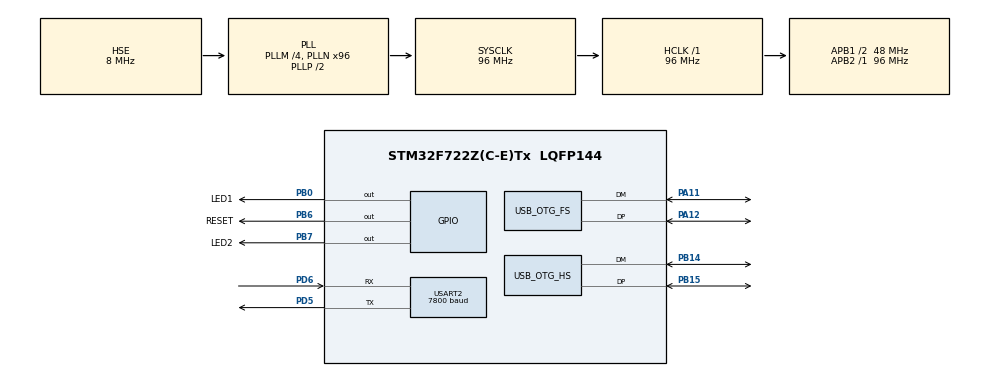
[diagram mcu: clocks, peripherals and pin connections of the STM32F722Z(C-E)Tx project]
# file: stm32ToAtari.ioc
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Mcu.Family=STM32F7
Mcu.Name=STM32F722Z(C-E)Tx
Mcu.Package=LQFP144
NVIC.OTG_FS_IRQn=true\:3\:0\:true\:false\:true\:false\:true
NVIC.OTG_HS_IRQn=true\:2\:0\:true\:false\:true\:false\:true
NVIC.PriorityGroup=NVIC_PRIORITYGROUP_4
NVIC.USART2_IRQn=true\:1\:0\:true\:false\:true\:true\:true
PA11.Mode=Host_Only
PA11.Signal=USB_OTG_FS_DM
PA12.Mode=Host_Only
PA12.Signal=USB_OTG_FS_DP
PA13.Mode=Serial_Wire
PA13.Signal=SYS_JTMS-SWDIO
PA14.Mode=Serial_Wire
PA14.Signal=SYS_JTCK-SWCLK
PB0.GPIO_Label=LED1
PB0.Signal=GPIO_Output
PB14.Mode=Internal_Phy_Host
PB14.Signal=USB_OTG_HS_DM
PB15.Mode=Internal_Phy_Host
PB15.Signal=USB_OTG_HS_DP
PB6.GPIO_Label=RESET
PB6.Signal=GPIO_Output
PB7.GPIO_Label=LED2
PB7.Signal=GPIO_Output
PD5.Mode=Asynchronous
PD5.Signal=USART2_TX
PD6.Mode=Asynchronous
PD6.Signal=USART2_RX
PH0-OSC_IN.Mode=HSE-External-Oscillator
PH0-OSC_IN.Signal=RCC_OSC_IN
PH1-OSC_OUT.Mode=HSE-External-Oscillator
PH1-OSC_OUT.Signal=RCC_OSC_OUT
ProjectManager.HeapSize=0x200
ProjectManager.StackSize=0x400
ProjectManager.TargetToolchain=STM32CubeIDE
RCC.AHBFreq_Value=96000000
RCC.APB1CLKDivider=RCC_HCLK_DIV2
RCC.APB1Freq_Value=48000000
RCC.APB1TimFreq_Value=96000000
RCC.APB2Freq_Value=96000000
RCC.APB2TimFreq_Value=96000000
RCC.CortexFreq_Value=96000000
RCC.HCLKFreq_Value=96000000
RCC.HSE_VALUE=8000000
RCC.HSI_VALUE=16000000
RCC.LSE_VALUE=32768
RCC.PLLM=4
RCC.PLLN=96
RCC.PLLQ=4
RCC.PWREXT_OverDrive=PWREXT_OverDrive_ACTIVATED
RCC.PWR_Regulator_Voltage_Scale=PWR_REGULATOR_VOLTAGE_SCALE1
RCC.SYSCLKFreq_VALUE=96000000
RCC.SYSCLKSource=RCC_SYSCLKSOURCE_PLLCLK
RCC.USBFreq_Value=48000000
RCC.VCOOutputFreq_Value=192000000
USART2.BaudRate=7800
USART2.VirtualMode-Asynchronous=VM_ASYNC
USB_HOST.USBH_HandleTypeDef-HID_FS=hUsbHostFS
USB_HOST.USBH_HandleTypeDef-HID_HS=hUsbHostHS
USB_HOST.VirtualModeFS=Hid
USB_HOST.VirtualModeHS=Hid
USB_OTG_FS.VirtualMode=Host_Only
USB_OTG_FS.phy_itface=HCD_PHY_EMBEDDED
USB_OTG_HS.VirtualMode-Internal_Phy_Host=Int_Phy_Host
VP_USB_HOST_VS_USB_HOST_HID_FS.Mode=HID_FS
VP_USB_HOST_VS_USB_HOST_HID_HS.Mode=HID_HS
board=custom

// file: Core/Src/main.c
/* USER CODE BEGIN Header */
/**
  ******************************************************************************
  * @file           : main.c
  * @brief          : Main program body
  ******************************************************************************
  * @attention
  *
  * <h2><center>&copy; Copyright (c) 2020 STMicroelectronics.
  * All rights reserved.</center></h2>
  *
  * This software component is licensed by ST under BSD 3-Clause license,
  * the "License"; You may not use this file except in compliance with the
  * License. You may obtain a copy of the License at:
  *                        opensource.org/licenses/BSD-3-Clause
  *
  ******************************************************************************
  */
/* USER CODE END Header */

#include "main.h"
#include "usb_host.h"
#include "atarist.h"

/* USER CODE BEGIN PD */
 HID_USBDevicesTypeDef* usb;
 HID_KEYBD_Info_TypeDef *k_pinfo;
 HAL_StatusTypeDef status;
 uint8_t RxBuffer[1] = {0};

 //keyboard state
 uint8_t kb_reset = 0;
 uint8_t  joy_inter_mode = 0;
 uint8_t  joy_even_rpt = 1;
 uint8_t sendJoyData_flag = 0;

 //joystick data for interrogation mode
 uint8_t  joydata1 = 0;
 uint8_t  joydata2 = 0;

/* USER CODE END PD */

UART_HandleTypeDef huart2;

void SystemClock_Config(void);
static void MX_GPIO_Init(void);
static void MX_USART2_UART_Init(void);
void MX_USB_HOST_Process(void);

/* USER CODE BEGIN 0 */
uint8_t MapJoystick(uint8_t joystick_data)
{

	  uint8_t joymapped = 0x00;

	   	//Map any button to
		   	//BTN0 = (joydata1>>7&0x1);
		   	//BTN1 =  (joydata1>>6&0x1);
		    //BTN2 =  (joydata1>>5&0x1);
		   	//BTN3 =  (joydata1>>4&0x1);

		   	//fire
		   	if((joystick_data>>7&0x1)||(joystick_data>>6&0x1)||(joystick_data>>5&0x1)||(joystick_data>>4&0x1))
		   			{
		   				joymapped = joymapped|0x80;
		   			}
			//mask 0x01 up
		   	//mask 0x02 down
			//mask 0x04
			//mask 0x08

		   	//UP = (*joymap>>3&0x1);
		   	if(joystick_data>>3&0x1)
		   	{
		   		joymapped = joymapped|0x01;
		   	}

		   	//DOWN = (*joymap>>2&0x1);
		 	if(joystick_data>>2&0x1)
			{
		 		joymapped = joymapped|0x02;
			}

			//LEFT = (*joydata1>>1&0x1);
			 	if(joystick_data>>1&0x1)
			 			{
			 				joymapped = joymapped|0x04;
			 			}

		 	////RIGHT = (*joydata1&0x1);

		 	if(joystick_data&0x1)
		 			{
		 				joymapped = joymapped|0x08;
		 			}
		 	return joymapped;
}

/* USER CODE END 0 */

int main(void)
{

  /* MCU Configuration--------------------------------------------------------*/

  /* Reset of all peripherals, Initializes the Flash interface and the Systick. */
  HAL_Init();

  /* Configure the system clock */
  SystemClock_Config();

  /* Initialize all configured peripherals */
  MX_GPIO_Init();
  MX_USART2_UART_Init();
  MX_USB_HOST_Init();
  initKeyboard(&huart2);

  /* USER CODE BEGIN 2 */

  HAL_UART_Receive_IT(&huart2, RxBuffer, 1);
  HAL_GPIO_WritePin(LED1_GPIO_Port, LED1_Pin, GPIO_PIN_RESET);
  HAL_GPIO_WritePin(LED2_GPIO_Port, LED2_Pin, GPIO_PIN_RESET);

  /* USER CODE END 2 */

  /* Infinite loop */
  while (1)
  {
    MX_USB_HOST_Process();
    HAL_UART_Receive_IT(&huart2, RxBuffer, 1);
    usb = USBH_HID_GetUSBDev();

//Relative position reporting
 /*
  %111110xy         ; mouse position record flag
                    ; where y is the right button state
                    ; and x is the left button state
X                   ; delta x as twos complement integer
Y                   ; delta y as twos complement integer
  */

 if (usb->mouse!=NULL && joy_inter_mode == 0)
 {
	 uint8_t mouse[3] = {0};
	 mouse[0] = 0xF8;
	 mouse[0]= mouse[0]|(usb->mouse->buttons[0]<<1);
	 mouse[0]= mouse[0]|(usb->mouse->buttons[1]);
	 mouse[1] = usb->mouse->x;
	 mouse[2] = usb->mouse->y;

	 HAL_UART_Transmit(&huart2, mouse, 3, 100);
 }

 if(usb->keyboard!=NULL)
 {
	 processKbd(usb->keyboard);
 }

 //handle even joy
 if(usb!=NULL&&usb->gamepad1!=NULL)
 {
	 //set data for interrogation mode
	 joydata1 = *usb->gamepad1;

	 //send data for event mode
	if (joy_even_rpt==1)
	 {
	 uint8_t joy1_package[3] = {0};
	 joy1_package[0] = 0xFE;
	 joy1_package[1] = MapJoystick(joydata1);
	 	 HAL_UART_Transmit(&huart2, joy1_package, 2, 100);
	 	 HAL_GPIO_TogglePin(LED2_GPIO_Port, LED2_Pin);
	 }
 }

 //Handle interr gamepad

 if (sendJoyData_flag == 1)
 {
 	//clear the flag
 	sendJoyData_flag = 0;

 	//construct message to send

 }

  }
  /* USER CODE END 3 */

}

void SystemClock_Config(void)
{
  RCC_OscInitTypeDef RCC_OscInitStruct = {0};
  RCC_ClkInitTypeDef RCC_ClkInitStruct = {0};
  RCC_PeriphCLKInitTypeDef PeriphClkInitStruct = {0};

  /** Configure the main internal regulator output voltage
  */
  __HAL_RCC_PWR_CLK_ENABLE();
  //__HAL_PWR_VOLTAGESCALING_CONFIG(PWR_REGULATOR_VOLTAGE_SCALE3);
  /** Initializes the CPU, AHB and APB busses clocks
  */
  RCC_OscInitStruct.OscillatorType = RCC_OSCILLATORTYPE_HSE;
  RCC_OscInitStruct.HSEState = RCC_HSE_ON;
  RCC_OscInitStruct.PLL.PLLState = RCC_PLL_ON;
  RCC_OscInitStruct.PLL.PLLSource = RCC_PLLSOURCE_HSE;
  RCC_OscInitStruct.PLL.PLLM = 4;
  RCC_OscInitStruct.PLL.PLLN = 96;
  RCC_OscInitStruct.PLL.PLLP = RCC_PLLP_DIV2;
  RCC_OscInitStruct.PLL.PLLQ = 4;
  if (HAL_RCC_OscConfig(&RCC_OscInitStruct) != HAL_OK)
  {
    Error_Handler();
  }
  /** Activate the Over-Drive mode
  */
  if (HAL_PWREx_EnableOverDrive() != HAL_OK)
  {
    Error_Handler();
  }
  /** Initializes the CPU, AHB and APB busses clocks
  */
  RCC_ClkInitStruct.ClockType = RCC_CLOCKTYPE_HCLK|RCC_CLOCKTYPE_SYSCLK
                              |RCC_CLOCKTYPE_PCLK1|RCC_CLOCKTYPE_PCLK2;
  RCC_ClkInitStruct.SYSCLKSource = RCC_SYSCLKSOURCE_PLLCLK;
  RCC_ClkInitStruct.AHBCLKDivider = RCC_SYSCLK_DIV1;
  RCC_ClkInitStruct.APB1CLKDivider = RCC_HCLK_DIV2;
  RCC_ClkInitStruct.APB2CLKDivider = RCC_HCLK_DIV1;

  if (HAL_RCC_ClockConfig(&RCC_ClkInitStruct, FLASH_LATENCY_3) != HAL_OK)
  {
    Error_Handler();
  }
  PeriphClkInitStruct.PeriphClockSelection = RCC_PERIPHCLK_USART2|RCC_PERIPHCLK_CLK48;
  PeriphClkInitStruct.Usart2ClockSelection = RCC_USART2CLKSOURCE_PCLK1;
  PeriphClkInitStruct.Clk48ClockSelection = RCC_CLK48SOURCE_PLL;
  if (HAL_RCCEx_PeriphCLKConfig(&PeriphClkInitStruct) != HAL_OK)
  {
    Error_Handler();
  }
}

static void MX_USART2_UART_Init(void)
{

  huart2.Instance = USART2;
  huart2.Init.BaudRate = 7812;
  huart2.Init.WordLength = UART_WORDLENGTH_8B;
  huart2.Init.StopBits = UART_STOPBITS_1;
  huart2.Init.Parity = UART_PARITY_NONE;
  huart2.Init.Mode = UART_MODE_TX_RX;
  huart2.Init.HwFlowCtl = UART_HWCONTROL_NONE;
  huart2.Init.OverSampling = UART_OVERSAMPLING_16;
  huart2.Init.OneBitSampling = UART_ONE_BIT_SAMPLE_DISABLE;
  huart2.AdvancedInit.AdvFeatureInit = UART_ADVFEATURE_NO_INIT;
  if (HAL_UART_Init(&huart2) != HAL_OK)
  {
    Error_Handler();
  }

}

static void MX_GPIO_Init(void)
{
  GPIO_InitTypeDef GPIO_InitStruct = {0};

  /* GPIO Ports Clock Enable */
  __HAL_RCC_GPIOH_CLK_ENABLE();
  __HAL_RCC_GPIOB_CLK_ENABLE();
  __HAL_RCC_GPIOA_CLK_ENABLE();
  __HAL_RCC_GPIOD_CLK_ENABLE();

  /*Configure GPIO pin Output Level */
  HAL_GPIO_WritePin(GPIOB, LED1_Pin|RESET_Pin|LED2_Pin, GPIO_PIN_RESET);

  /*Configure GPIO pins : LED1_Pin RESET_Pin LED2_Pin */
  GPIO_InitStruct.Pin = LED1_Pin|RESET_Pin|LED2_Pin;
  GPIO_InitStruct.Mode = GPIO_MODE_OUTPUT_PP;
  GPIO_InitStruct.Pull = GPIO_NOPULL;
  GPIO_InitStruct.Speed = GPIO_SPEED_FREQ_LOW;
  HAL_GPIO_Init(GPIOB, &GPIO_InitStruct);

}

/* USER CODE BEGIN 4 */

void HAL_UART_ErrorCallback(UART_HandleTypeDef *huart)
{
  /* Prevent unused argument(s) compilation warning */
	  if (huart->ErrorCode == HAL_UART_ERROR_ORE){

	        // remove the error condition

	        huart->ErrorCode = HAL_UART_ERROR_NONE;

	        // set the correct state, so that the UART_RX_IT works correctly

	        huart->gState = HAL_UART_STATE_BUSY_RX;

	    }

  /* NOTE : This function should not be modified, when the callback is needed,
            the HAL_UART_ErrorCallback can be implemented in the user file.
   */
  HAL_GPIO_WritePin(LED2_GPIO_Port, LED2_Pin,GPIO_PIN_SET);

}

void HAL_UART_RxCpltCallback(UART_HandleTypeDef *huart)
{
  /* Prevent unused argument(s) compilation warning */
  UNUSED(huart);

  /* NOTE : This function should not be modified, when the callback is needed,
            the HAL_UART_RxCpltCallback can be implemented in the user file
   */

  if ((RxBuffer[0]==0x01)&&(kb_reset==1))
  {
  	 kb_reset = 0;
  	 joy_inter_mode = 0;
  	 joy_even_rpt = 1;
  	 sendJoyData_flag = 0;
  	 joydata1 = 0;
  	 joydata2 = 0;

  	 HAL_GPIO_WritePin(LED1_GPIO_Port, LED1_Pin, GPIO_PIN_RESET);
  	 HAL_GPIO_WritePin(LED2_GPIO_Port, LED2_Pin, GPIO_PIN_RESET);
  }
  else
  {
  	kb_reset = 0;
  }

  if (RxBuffer[0]==0x80)
  {
  	kb_reset =1;
  }

  //Set event reporting
  if (RxBuffer[0]==0x14)
  {
  	joy_inter_mode = 0;
  	joy_even_rpt = 1;

  }

  // set interrogation mode.
  if (RxBuffer[0]==0x15)
  {
	HAL_GPIO_WritePin(LED1_GPIO_Port, LED1_Pin, GPIO_PIN_SET);
  	joy_inter_mode = 1;
  	joy_even_rpt = 0;
  }

  if (RxBuffer[0]==0x16)
   {
	  uint8_t joy_package[3] = {0};

	   	joy_package[0]=0xFD;
	   	joy_package[1]= MapJoystick(joydata2);
	   	joy_package[2]= MapJoystick(joydata1);
	   	HAL_UART_Transmit(&huart2, joy_package, 3, 100);
   }

  //

}
/* USER CODE END 4 */

void Error_Handler(void)
{
}

/************************ (C) COPYRIGHT STMicroelectronics *****END OF FILE****/
